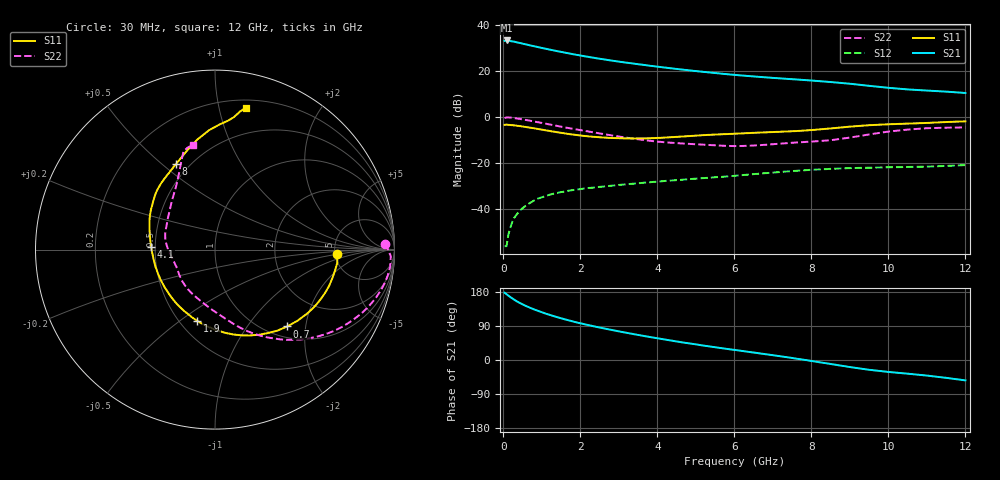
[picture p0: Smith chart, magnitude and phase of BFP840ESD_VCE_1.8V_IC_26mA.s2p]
! Infineon Technologies  Discrete & RF Semiconductors
! BFP840ESD
! VCE =  1.8 V,  IC =  26 mA
! Common Emitter S-Parameters:  May 2012
# GHz  S  MA  R  50
!  f  S11  S21  S12  S22
! GHz  MAG  ANG  MAG  ANG  MAG  ANG  MAG  ANG
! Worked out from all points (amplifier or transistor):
!   93 points, 30 MHz to 12 GHz, reference 50 ohm
!   highest |S21| = 33.2 dB at 80 MHz (marker M1)
!   |S21| within 3 dB of that: start of sweep to 932.5 MHz
!   unconditionally stable (mu >= 1): 4.551 GHz to 7.866 GHz
!   at 1.1 GHz: K = 0.46, MSG = 31.9 dB, |S12| = -34.2 dB
!   at 4.2 GHz: K = 0.97, MSG = 24.5 dB, |S12| = -27.7 dB
!   at 12 GHz: K = 0.74, MSG = 15.6 dB, |S12| = -20.8 dB
!   S11 on the Smith chart (normalised r, x): 30 MHz: 5.20, -0.51; 700 MHz: 1.21, -1.58; 1.9 GHz: 0.61, -0.58; 4.1 GHz: 0.48, +0.02; 8 GHz: 0.42, +0.56; 12 GHz: 0.26, +1.20
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0.03  0.6801 -2.2  44.65 177.6  0.0016 110.5  0.9489 2.0
0.08  0.6855 -6.1  45.6 173.6  0.0016 96.0  0.9801 -2.1
0.23  0.6673 -17.5  43.58 162.5  0.0054 81.5  0.9633 -11.3
0.33  0.6525 -24.3  41.92 155.9  0.0075 76.6  0.9384 -16.2
0.5  0.6239 -35.1  38.87 146.6  0.0107 71.6  0.8897 -23.6
0.7  0.5874 -46.8  35.57 137.5  0.014 66.8  0.8308 -31.1
1  0.5336 -62.8  31.38 125.9  0.0183 59.9  0.7452 -40.7
1.3  0.484 -77.7  27.79 115.9  0.0219 54.9  0.6659 -49.0
1.6  0.4424 -91.2  24.81 107.2  0.0244 51.0  0.5971 -56.1
1.9  0.4083 -104.3  22.27 99.3  0.0269 47.6  0.5384 -62.6
2.1  0.39 -112.4  20.81 94.5  0.0284 45.8  0.5043 -66.5
2.5  0.3656 -128.1  18.33 85.7  0.0308 43.3  0.4424 -73.9
2.9  0.3506 -143.0  16.33 77.5  0.0332 41.6  0.3901 -81.3
3.5  0.345 -163.6  13.95 66.1  0.0368 39.4  0.33 -94.2
4.1  0.3558 177.4  12.05 55.6  0.0406 37.3  0.2892 -109.5
5.2  0.4059 153.5  9.521 38.0  0.0477 33.1  0.2524 -137.0
6.1  0.4389 141.3  8.065 25.3  0.0544 30.3  0.2363 -158.4
8  0.5228 114.7  6.182 -2.6  0.0721 17.6  0.2941 159.9
8.5  0.5673 106.7  5.74 -10.5  0.0755 13.3  0.315 146.5
9.5  0.6663 92.8  4.746 -25.8  0.08 4.6  0.4206 120.6
10.5  0.7213 84.3  3.968 -36.1  0.083 -2.2  0.5354 110.3
12  0.8084 77.8  3.323 -53.8  0.0911 -9.9  0.597 101.8
